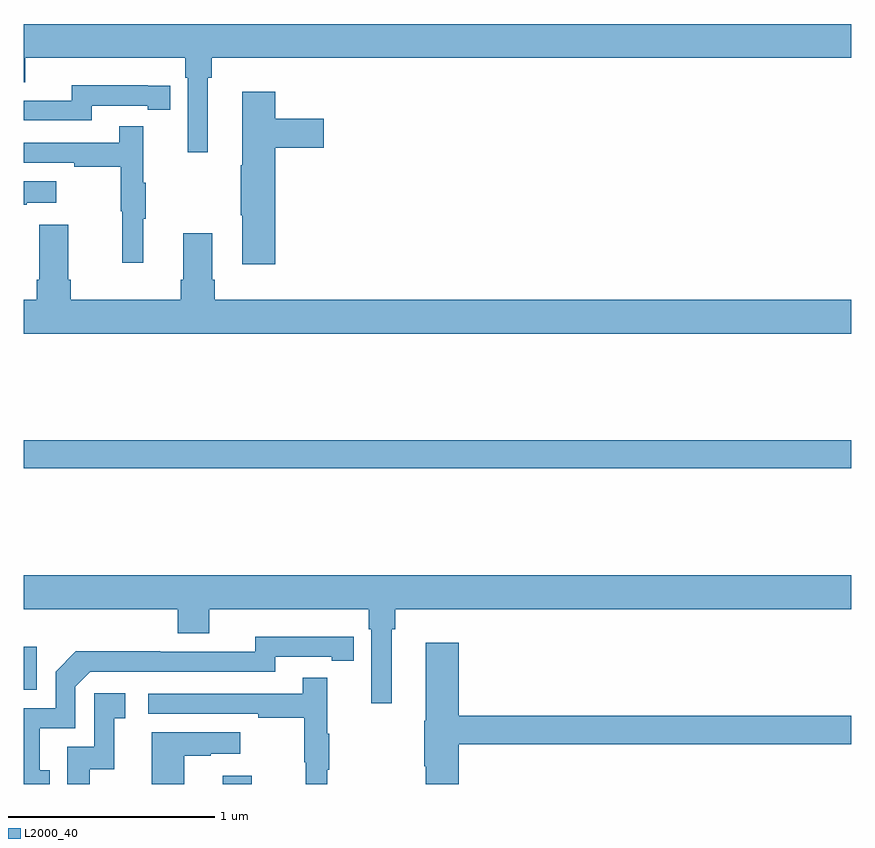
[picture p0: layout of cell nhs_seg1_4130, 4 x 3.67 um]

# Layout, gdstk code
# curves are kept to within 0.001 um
import gdstk
lib = gdstk.Library(unit=1e-6, precision=1e-09)
def R(c, l, rs):  # rectangles x0, y0, x1, y1
    for r in rs: c.add(gdstk.rectangle(r[:2], r[2:], *l))
def P(c, l, *ps):  # polygons
    for p in ps: c.add(gdstk.Polygon(p, *l))
L2000_40 = (2000, 40)

nhs_seg1_4130 = lib.new_cell('nhs_seg1_4130')
R(nhs_seg1_4130, L2000_40, [(335.963,572.199,336.103,572.239), (335,572.655,335.064,572.863), (335,573.724,339,573.86)])
P(nhs_seg1_4130, L2000_40, [(335.89,575.612),(335.909,575.612),(335.909,575.708),(339,575.708),(339,575.872),(335,575.872),(335,575.591),(335.008,575.591),(335.008,575.708),(335.78,575.708),(335.78,575.612),(335.793,575.612),(335.793,575.253),(335.89,575.253)],
  [(335.328,575.478),(335.6,575.478),(335.6,575.458),(335.708,575.458),(335.708,575.574),(335.6,575.574),(335.6,575.575),(335.232,575.575),(335.232,575.502),(335,575.502),(335,575.406),(335.328,575.406)],
  [(336.215,575.273),(336.451,575.273),(336.451,575.415),(336.215,575.415),(336.215,575.545),(336.056,575.545),(336.056,575.189),(336.049,575.189),(336.049,574.948),(336.056,574.948),(336.056,574.71),(336.215,574.71)],
  [(335.579,574.931),(335.59,574.931),(335.59,575.105),(335.579,575.105),(335.579,575.377),(335.461,575.377),(335.461,575.298),(335,575.298),(335,575.202),(335.245,575.202),(335.245,575.182),(335.469,575.182),(335.469,574.968),(335.476,574.968),(335.476,574.719),(335.579,574.719)],
  [(335.015,575.009),(335.158,575.009),(335.158,575.113),(335,575.113),(335,574.999),(335.015,574.999)],
  [(339,574.54),(335.924,574.54),(335.924,574.636),(335.911,574.636),(335.911,574.861),(335.771,574.861),(335.771,574.636),(335.759,574.636),(335.759,574.54),(335.228,574.54),(335.228,574.636),(335.215,574.636),(335.215,574.903),(335.075,574.903),(335.075,574.636),(335.063,574.636),(335.063,574.54),(335,574.54),(335,574.376),(339,574.376)],
  [(336.778,572.948),(336.797,572.948),(336.797,573.044),(339,573.044),(339,573.208),(335,573.208),(335,573.044),(335.744,573.044),(335.744,572.927),(335.896,572.927),(335.896,573.044),(336.668,573.044),(336.668,572.948),(336.681,572.948),(336.681,572.589),(336.778,572.589)],
  [(335.126,572.265),(335.077,572.265),(335.077,572.469),(335.25,572.469),(335.25,572.67),(335.322,572.742),(336.216,572.742),(336.216,572.814),(336.488,572.814),(336.488,572.794),(336.596,572.794),(336.596,572.91),(336.12,572.911),(336.12,572.838),(335.66,572.838),(335.66,572.84),(335.252,572.84),(335.154,572.742),(335.154,572.565),(335,572.565),(335,572.199),(335.126,572.199)],
  [(337.103,572.392),(339,572.392),(339,572.528),(337.103,572.528),(337.103,572.881),(336.944,572.881),(336.944,572.505),(336.937,572.505),(336.937,572.284),(336.944,572.284),(336.944,572.199),(337.103,572.199)],
  [(336.467,572.267),(336.478,572.267),(336.478,572.441),(336.467,572.441),(336.467,572.713),(336.349,572.713),(336.349,572.634),(335.601,572.634),(335.601,572.538),(336.133,572.538),(336.133,572.518),(336.357,572.518),(336.357,572.304),(336.364,572.304),(336.364,572.199),(336.467,572.199)],
  [(335.32,572.271),(335.438,572.271),(335.438,572.517),(335.491,572.517),(335.491,572.638),(335.34,572.638),(335.34,572.379),(335.211,572.379),(335.211,572.199),(335.32,572.199)],
  [(335.776,572.335),(335.903,572.335),(335.903,572.345),(336.046,572.345),(336.046,572.449),(335.618,572.449),(335.618,572.199),(335.776,572.199)])

lib.write_gds('nhs_seg1_4130.gds')
